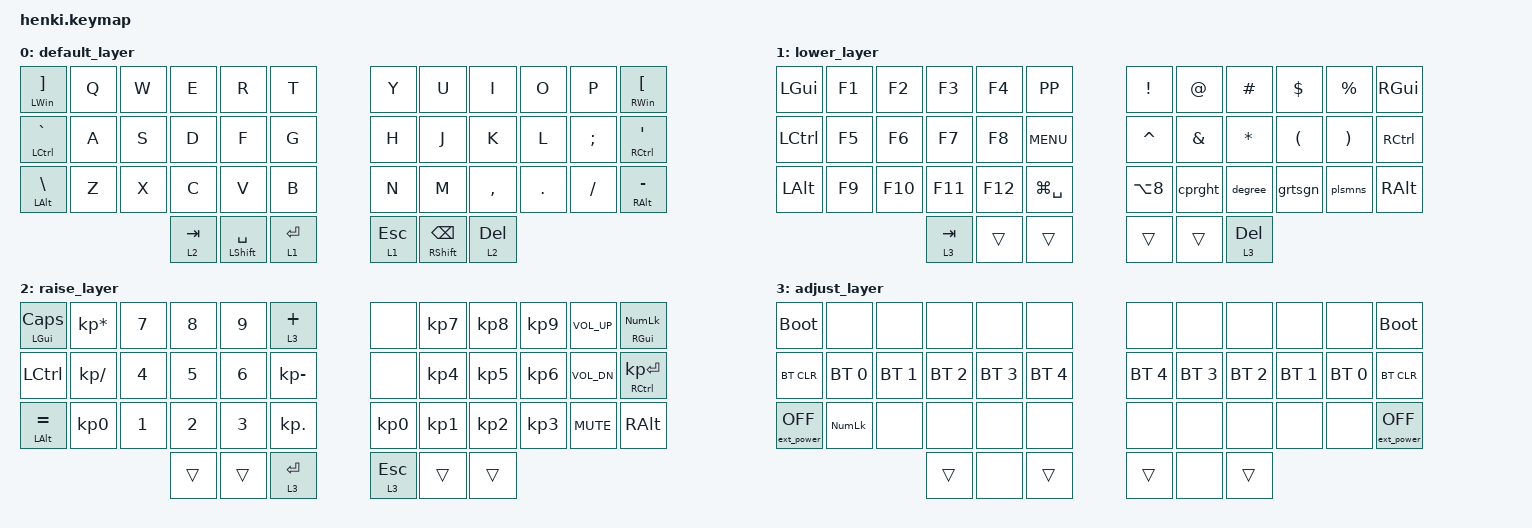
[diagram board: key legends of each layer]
/*
 * Copyright (c) 2020 The ZMK Contributors
 *
 * SPDX-License-Identifier: MIT
 */

#include <behaviors.dtsi>
#include <dt-bindings/zmk/keys.h>
#include <dt-bindings/zmk/bt.h>
#include <dt-bindings/zmk/ext_power.h>
#include "elpekenin/behaviors.dtsi"

#define DEF 0
#define LWR 1
#define RSE 2
#define ADJ 3

&lt {
    quick_tap_ms = <220>;
};

&mt {
    quick_tap_ms = <220>;
};

/ {
    macros {
        numdot: numdot {
            label = "ZM_numdot";
            compatible = "zmk,behavior-macro";
            #binding-cells = <0>;
            wait-ms = <40>;
            tap-ms = <40>;
            bindings =
                <&macro_press>,
                <&kp LALT>,
                <&macro_tap>,
                <&kp KP_N4 &kp KP_N6>,
                <&macro_release>,
                <&kp LALT>;
        };
        grtsgn: grtsgn {
            label = "ZM_grtsgn";
            compatible = "zmk,behavior-macro";
            #binding-cells = <0>;
            wait-ms = <40>;
            tap-ms = <40>;
            bindings =
                <&macro_press>,
                <&kp LALT>,
                <&macro_tap>,
                <&kp KP_N6 &kp KP_N2>,
                <&macro_release>,
                <&kp LALT>;
        };
          cprght: cprght {
            label = "ZM_cprght";
            compatible = "zmk,behavior-macro";
            #binding-cells = <0>;
            wait-ms = <40>;
            tap-ms = <40>;
            bindings =
                <&macro_press>,
                <&kp LALT>,
                <&macro_tap>,
                <&kp KP_N0 &kp KP_N1 &kp KP_N6 &kp KP_N9>,
                <&macro_release>,
                <&kp LALT>;
        };
        degree: degree {
            label = "ZM_degree";
            compatible = "zmk,behavior-macro";
            #binding-cells = <0>;
            wait-ms = <40>;
            tap-ms = <40>;
            bindings =
                <&macro_press>,
                <&kp LALT>,
                <&macro_tap>,
                <&kp KP_N0 &kp KP_N1 &kp KP_N7 &kp KP_N6>,
                <&macro_release>,
                <&kp LALT>;
        };
        layer_callbacks {
            compatible = "elpekenin,layer-callback";
            layer_on {
                layer = <1>;
                event = "on-activation";
                bindings = <&kp F13>;
            };
            layer_off {
                layer = <1>;
                event = "on-deactivation";
                bindings = <&kp F14>;
            };
        };
        plsmns: plsmns {
            label = "ZM_plsmns";
            compatible = "zmk,behavior-macro";
            #binding-cells = <0>;
            wait-ms = <40>;
            tap-ms = <40>;
            bindings =
                <&macro_press>,
                <&kp LALT>,
                <&macro_tap>,
                <&kp KP_N0 &kp KP_N1 &kp KP_N7 &kp KP_N7>,
                <&macro_release>,
                <&kp LALT>;
        };
    };
};

/ {
    keymap {
        compatible = "zmk,keymap";

        default_layer {
            // ------------------------------------------------------------------------------------------------
            //| LGUI/] |  Q  |  W  |  E  |  R  |  T  |   |  Y  |  U   |  I  |  O  |  P  | RGUI/[ | 
            //| CTRL/` |  A  |  S  |  D  |  F  |  G  |   |  H  |  J   |  K  |  L  |  ;  | CTRL/' |
            //| LALT/\ |  Z  |  X  |  C  |  V  |  B  |   |  N  |  M   |  ,  |  .  |  /  | RALT/- |
            //                             | RSE | SPC | LWR |   | LWR | BKSP | RSE |

            bindings = <
   &mt LWIN RBKT   &kp Q   &kp W      &kp E            &kp R      &kp T      &kp Y           &kp U      &kp I    &kp O     &kp P   &mt RWIN LBKT
 &mt LCTRL GRAVE   &kp A   &kp S      &kp D            &kp F      &kp G      &kp H           &kp J      &kp K    &kp L  &kp SEMI   &mt RCTRL SQT
   &mt LALT BSLH   &kp Z   &kp X      &kp C            &kp V      &kp B      &kp N           &kp M  &kp COMMA  &kp DOT  &kp FSLH  &mt RALT MINUS
                                  &lt 2 TAB  &mt LSHFT SPACE  &lt 1 RET  &lt 1 ESC  &mt RSHFT BSPC  &lt 2 DEL
            >;
        };

        lower_layer {
            // -----------------------------------------------------------------------------------------
            //|LGUI/CAPS |  *  |  7 |  8  |  9  |  +  |    |  !  |  @  |  #  |  $  |  %  | RGUI/F1 |
            //|CTRL/MENU |  /  |  4 |  5  |  6  |  -  |    |  ^  |  &  |  *  |  (  |  )  | CTRL/F2 |
            //|  LALT/=  |  0  |  1 |  4  |  3  |  .  |    |  ls |  F4 |  F5 |  F6 |  F7 | RALT/F3 |
            //                      | ADJ | ___ | ___ |    | ___ | ___ | ADJ |

            bindings = <
     &kp LGUI  &kp F1   &kp F2     &kp F3   &kp F4       &kp K_PP    &kp EXCL         &kp AT   &kp HASH  &kp DOLLAR  &kp PERCENT   &kp RGUI
    &kp LCTRL  &kp F5   &kp F6     &kp F7   &kp F8     &kp K_MENU   &kp CARET       &kp AMPS   &kp STAR    &kp LPAR     &kp RPAR  &kp RCTRL
 &kp LEFT_ALT  &kp F9  &kp F10    &kp F11  &kp F12  &kp LG(SPACE)  &kp LA(N8)      &cprght     &degree     &grtsgn       &plsmns   &kp RALT
                                &lt 3 TAB   &trans         &trans      &trans         &trans  &lt 3 DEL
            >;
        };

        raise_layer {
            // -----------------------------------------------------------------------------------------
            //| LGUI |  VOLU  |  PGUP  | PLAY | HOME | ___  |            | ___  | HOME | PLAY| PGUP | VOLU | RGUI |
            //| CTRL |  VOLD  |  LEFT  |  UP  | DOWN | RGHT |            | RGHT | DOWN | UP  | LEFT | VOLD | CTRL | 
            //| LALT |  MUTE  |  PGDN  |  ___ | END  | ___  |            | ___  | END  | ___ | PGDN | MUTE | RALT |
            //                          | ___ | ___  | ADJ  |            | ADJ  | ___  | ___ |

            bindings = <
     &mt LEFT_GUI CAPS  &kp KP_MULTIPLY  &kp N7  &kp N8  &kp N9    &lt 3 PLUS      &none  &kp KP_N7  &kp KP_N8  &kp KP_N9  &kp C_VOL_UP  &mt RIGHT_GUI KP_NUMLOCK
             &kp LCTRL     &kp KP_SLASH  &kp N4  &kp N5  &kp N6  &kp KP_MINUS      &none  &kp KP_N4  &kp KP_N5  &kp KP_N6  &kp C_VOL_DN        &mt RCTRL KP_ENTER
     &mt LALT EQUAL   &kp KP_NUMBER_0  &kp N1  &kp N2  &kp N3    &kp KP_DOT  &kp KP_N0  &kp KP_N1  &kp KP_N2  &kp KP_N3    &kp C_MUTE                  &kp RALT
                                                 &trans  &trans     &lt 3 RET  &lt 3 ESC     &trans     &trans
            >;
        };

        adjust_layer {
            // -----------------------------------------------------------------------------------------
            //| BLDR |     |     |     |     |     |   |     |     |     |     |     | BLDR |
            //| BTCLR| BT0 | BT1 | BT2 | BT3 | BT4 |   | BT4 | BT3 | BT2 | BT1 | BT0 | BTCLR|
            //|pwrOFF|NUMLK|     |     |     |     |   |     |     |     |     |     |      |
            //                   |     |     |     |   |     |     |     |

            bindings = <
       &bootloader         &none         &none         &none         &none         &none         &none         &none         &none         &none         &none        &bootloader
        &bt BT_CLR  &bt BT_SEL 0  &bt BT_SEL 1  &bt BT_SEL 2  &bt BT_SEL 3  &bt BT_SEL 4  &bt BT_SEL 4  &bt BT_SEL 3  &bt BT_SEL 2  &bt BT_SEL 1  &bt BT_SEL 0         &bt BT_CLR
 &ext_power EP_OFF    &kp KP_NUM         &none         &none         &none         &none         &none         &none         &none         &none         &none  &ext_power EP_OFF
                                                      &trans         &none        &trans        &trans         &none        &trans
            >;
        };
    };
};
